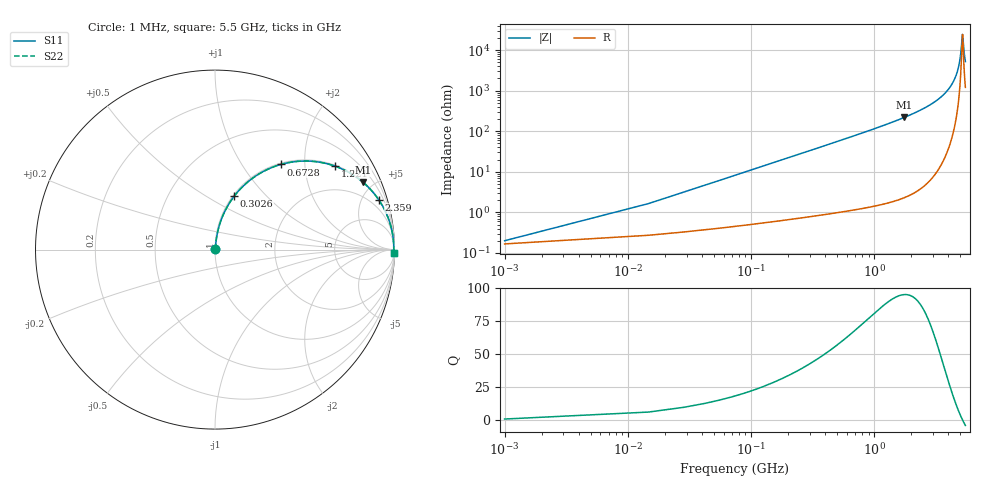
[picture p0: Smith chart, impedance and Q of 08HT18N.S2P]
! Coilcraft 0805HT-18N Chip Inductor
! 24 June 2002
# MHZ S MA R 50
!Freq  MagS11  AngS11  MagS21  AngS21  MagS12  AngS12  MagS22  AngS22
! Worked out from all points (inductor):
!   403 points, 1 MHz to 5.5 GHz, reference 50 ohm
!   read as one part in series: L = 17.6 nH near 28.42 MHz
!   highest Q = 95 at 1.756 GHz (marker M1), where L = 19.9 nH
!   self-resonance near 5.211 GHz
!   S11 on the Smith chart (normalised r, x): 1 MHz: 1.00, +0.00; 302.6 MHz: 1.02, +0.67; 672.8 MHz: 1.02, +1.51; 1.221 GHz: 1.03, +2.86; 2.359 GHz: 1.07, +6.56; 5.5 GHz: open
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1  0.002003 33.4  0.9983 -0.1  0.9983 -0.1  0.002003 33.4
42.13  0.04652 82.8  0.9952 -2.7  0.9952 -2.7  0.04652 82.8
83.26  0.0914 81.8  0.9912 -5.2  0.9912 -5.2  0.0914 81.8
165.52  0.1793 77.8  0.9778 -10.3  0.9778 -10.3  0.1793 77.8
302.62  0.3162 70.2  0.9413 -18.4  0.9413 -18.4  0.3162 70.2
672.79  0.5991 52.3  0.7917 -36.8  0.7917 -36.8  0.5991 52.3
919.57  0.7194 43.3  0.6854 -46.0  0.6854 -46.0  0.7194 43.3
1221.19  0.815 34.8  0.5703 -54.6  0.5703 -54.6  0.815 34.8
1755.88  0.9061 24.4  0.4137 -65.0  0.4137 -65.0  0.9061 24.4
1838.14  0.9149 23.2  0.3941 -66.2  0.3941 -66.2  0.9149 23.2
2359.12  0.9535 16.9  0.2906 -72.5  0.2906 -72.5  0.9535 16.9
2756.71  0.9704 13.3  0.2292 -76.0  0.2292 -76.0  0.9704 13.3
3675.28  0.9895 7.0  0.1224 -81.6  0.1224 -81.6  0.9895 7.0
4209.97  0.994 4.3  0.07425 -83.2  0.07425 -83.2  0.994 4.3
4593.85  0.9955 2.5  0.04385 -82.9  0.04385 -82.9  0.9955 2.5
4950.31  0.996 1.0  0.01821 -76.8  0.01821 -76.8  0.996 1.0
5046.28  0.996 0.6  0.01184 -69.9  0.01184 -69.9  0.996 0.6
5169.67  0.9959 0.2  0.004944 -34.5  0.004944 -34.5  0.9959 0.2
5210.8  0.9959 0.0  0.004108 -1.1  0.004108 -1.1  0.9959 0.0
5251.93  0.9958 -0.2  0.004918 32.3  0.004918 32.3  0.9958 -0.2
5375.32  0.9957 -0.6  0.01149 67.5  0.01149 67.5  0.9957 -0.6
5500  0.9954 -1.1  0.0191 75.6  0.0191 75.6  0.9954 -1.1
